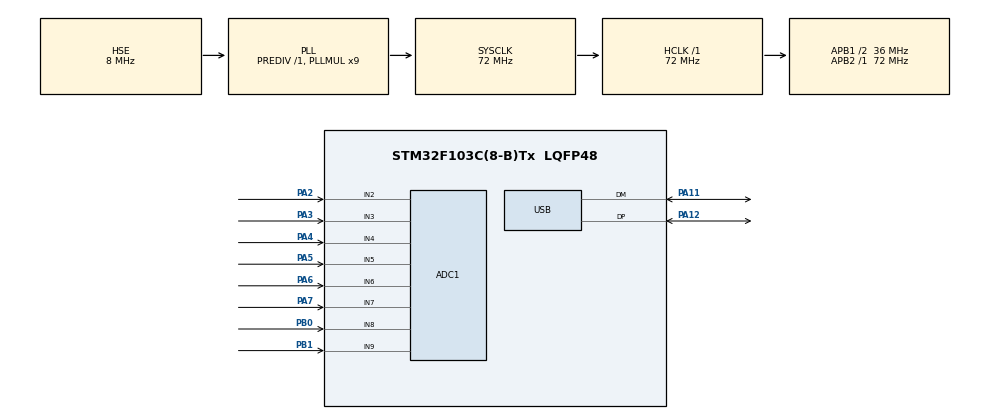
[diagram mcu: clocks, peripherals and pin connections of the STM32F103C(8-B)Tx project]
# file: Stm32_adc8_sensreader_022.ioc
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ADC1.Channel-0\#ChannelRegularConversion=ADC_CHANNEL_2
ADC1.Channel-1\#ChannelRegularConversion=ADC_CHANNEL_3
ADC1.Channel-2\#ChannelRegularConversion=ADC_CHANNEL_4
ADC1.Channel-3\#ChannelRegularConversion=ADC_CHANNEL_5
ADC1.Channel-4\#ChannelRegularConversion=ADC_CHANNEL_6
ADC1.Channel-5\#ChannelRegularConversion=ADC_CHANNEL_7
ADC1.Channel-6\#ChannelRegularConversion=ADC_CHANNEL_8
ADC1.Channel-7\#ChannelRegularConversion=ADC_CHANNEL_9
ADC1.ContinuousConvMode=ENABLE
ADC1.NbrOfConversion=8
ADC1.NbrOfConversionFlag=1
ADC1.Rank-0\#ChannelRegularConversion=1
ADC1.Rank-1\#ChannelRegularConversion=2
ADC1.Rank-2\#ChannelRegularConversion=3
ADC1.Rank-3\#ChannelRegularConversion=4
ADC1.Rank-4\#ChannelRegularConversion=5
ADC1.Rank-5\#ChannelRegularConversion=6
ADC1.Rank-6\#ChannelRegularConversion=7
ADC1.Rank-7\#ChannelRegularConversion=8
ADC1.SamplingTime-0\#ChannelRegularConversion=ADC_SAMPLETIME_55CYCLES_5
ADC1.SamplingTime-1\#ChannelRegularConversion=ADC_SAMPLETIME_55CYCLES_5
ADC1.SamplingTime-2\#ChannelRegularConversion=ADC_SAMPLETIME_55CYCLES_5
ADC1.SamplingTime-3\#ChannelRegularConversion=ADC_SAMPLETIME_55CYCLES_5
ADC1.SamplingTime-4\#ChannelRegularConversion=ADC_SAMPLETIME_55CYCLES_5
ADC1.SamplingTime-5\#ChannelRegularConversion=ADC_SAMPLETIME_55CYCLES_5
ADC1.SamplingTime-6\#ChannelRegularConversion=ADC_SAMPLETIME_55CYCLES_5
ADC1.SamplingTime-7\#ChannelRegularConversion=ADC_SAMPLETIME_55CYCLES_5
ADC1.master=1
Dma.ADC1.0.Direction=DMA_PERIPH_TO_MEMORY
Dma.ADC1.0.Instance=DMA1_Channel1
Dma.ADC1.0.MemDataAlignment=DMA_MDATAALIGN_WORD
Dma.ADC1.0.MemInc=DMA_MINC_ENABLE
Dma.ADC1.0.Mode=DMA_CIRCULAR
Dma.ADC1.0.PeriphDataAlignment=DMA_PDATAALIGN_WORD
Dma.ADC1.0.PeriphInc=DMA_PINC_DISABLE
Dma.ADC1.0.Priority=DMA_PRIORITY_LOW
Dma.Request0=ADC1
Mcu.Family=STM32F1
Mcu.Name=STM32F103C(8-B)Tx
Mcu.Package=LQFP48
NVIC.DMA1_Channel1_IRQn=true\:0\:0\:false\:false\:true\:false\:true\:true
NVIC.PriorityGroup=NVIC_PRIORITYGROUP_4
NVIC.USB_HP_CAN1_TX_IRQn=true\:0\:0\:false\:false\:true\:true\:true\:true
NVIC.USB_LP_CAN1_RX0_IRQn=true\:0\:0\:false\:false\:true\:false\:true\:true
PA11.Mode=Device
PA11.Signal=USB_DM
PA12.Mode=Device
PA12.Signal=USB_DP
PA13.Mode=Serial_Wire
PA13.Signal=SYS_JTMS-SWDIO
PA14.Mode=Serial_Wire
PA14.Signal=SYS_JTCK-SWCLK
PA2.Signal=ADCx_IN2
PA3.Signal=ADCx_IN3
PA4.Signal=ADCx_IN4
PA5.Signal=ADCx_IN5
PA6.Signal=ADCx_IN6
PA7.Signal=ADCx_IN7
PB0.Signal=ADCx_IN8
PB1.Signal=ADCx_IN9
PD0-OSC_IN.Mode=HSE-External-Oscillator
PD0-OSC_IN.Signal=RCC_OSC_IN
PD1-OSC_OUT.Mode=HSE-External-Oscillator
PD1-OSC_OUT.Signal=RCC_OSC_OUT
ProjectManager.HeapSize=0x200
ProjectManager.StackSize=0x400
ProjectManager.TargetToolchain=STM32CubeIDE
RCC.ADCPresc=RCC_ADCPCLK2_DIV6
RCC.AHBFreq_Value=72000000
RCC.APB1CLKDivider=RCC_HCLK_DIV2
RCC.APB1Freq_Value=36000000
RCC.APB1TimFreq_Value=72000000
RCC.APB2Freq_Value=72000000
RCC.APB2TimFreq_Value=72000000
RCC.HCLKFreq_Value=72000000
RCC.PLLMUL=RCC_PLL_MUL9
RCC.SYSCLKFreq_VALUE=72000000
RCC.SYSCLKSource=RCC_SYSCLKSOURCE_PLLCLK
RCC.USBFreq_Value=48000000
RCC.USBPrescaler=RCC_USBCLKSOURCE_PLL_DIV1_5
SH.ADCx_IN2.0=ADC1_IN2,IN2
SH.ADCx_IN3.0=ADC1_IN3,IN3
SH.ADCx_IN4.0=ADC1_IN4,IN4
SH.ADCx_IN5.0=ADC1_IN5,IN5
SH.ADCx_IN6.0=ADC1_IN6,IN6
SH.ADCx_IN7.0=ADC1_IN7,IN7
SH.ADCx_IN8.0=ADC1_IN8,IN8
SH.ADCx_IN9.0=ADC1_IN9,IN9
USB_DEVICE.CLASS_NAME_FS=CDC
USB_DEVICE.PRODUCT_STRING_CDC_FS=STM32 Virtual Port
USB_DEVICE.VirtualMode=Cdc
USB_DEVICE.VirtualModeFS=Cdc_FS
VP_USB_DEVICE_VS_USB_DEVICE_CDC_FS.Mode=CDC_FS
board=custom

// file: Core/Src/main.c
/* USER CODE BEGIN Header */

/**
 *STM32F103C8T6 kullanarak, 8 kanal ADC verisi okuma ve verileri USB ile bilgisayara yollama
 *Using STM32F103C8T6, reading 8 channel ADC data and sending the data to the computer via USB."
 **Mete Sepetcioglu**
  ******************************************************************************
  * @file           : main.c
  * @brief          : Main program body
  ******************************************************************************
  * @attention
  *
  * Copyright (c) 2023 STMicroelectronics.
  * All rights reserved.
  *
  * This software is licensed under terms that can be found in the LICENSE file
  * in the root directory of this software component.
  * If no LICENSE file comes with this software, it is provided AS-IS.
  *
  ******************************************************************************
  */
/* USER CODE END Header */
#include "main.h"
#include "usb_device.h"

/* USER CODE BEGIN Includes */
//#include "string.h"
#include "usbd_cdc_if.h"
#define CHANNEL_SIZE 14
/* USER CODE END Includes */

/* USER CODE BEGIN PTD */
uint32_t data[8];
uint32_t adcbuffer[8];

union
 {
   float channels[CHANNEL_SIZE];
   uint8_t bytes[CHANNEL_SIZE * 4];
 } package;

 union
 {
   unsigned long value;
   uint8_t bytes[4];
 } checkpoint;
/* USER CODE END PTD */

/* USER CODE BEGIN PD */
 void HAL_ADC_ConvCpltCallback(ADC_HandleTypeDef* hadc)
  {
  	if(hadc->Instance == ADC1)
  	{

           data[0] = adcbuffer[0];
 	   data[1] = adcbuffer[1];
           data[2] = adcbuffer[2];
 	   data[3] = adcbuffer[3];
     	   data[4] = adcbuffer[4];
 	   data[5] = adcbuffer[5];
 	   data[6] = adcbuffer[6];
 	   data[7] = adcbuffer[7];

  	}
  }
/* USER CODE END PD */

 ADC_HandleTypeDef hadc1;
DMA_HandleTypeDef hdma_adc1;

void SystemClock_Config(void);
static void MX_GPIO_Init(void);
static void MX_DMA_Init(void);
static void MX_ADC1_Init(void);

int main(void)
{

  /* MCU Configuration--------------------------------------------------------*/

  /* Reset of all peripherals, Initializes the Flash interface and the Systick. */
  HAL_Init();

  /* Configure the system clock */
  SystemClock_Config();

  /* Initialize all configured peripherals */
  MX_GPIO_Init();
  MX_DMA_Init();
  MX_ADC1_Init();
  MX_USB_DEVICE_Init();
  /* USER CODE BEGIN 2 */
  HAL_ADC_Start_DMA(&hadc1, adcbuffer, 8);

  /* USER CODE END 2 */

  /* Infinite loop */
  /* USER CODE BEGIN WHILE */
  while (1)
  {
		package.channels[0] = data[0];
		package.channels[1] = data[1];
		package.channels[2] = data[2];
		package.channels[3] = data[3];
		package.channels[4] = data[4];
		package.channels[5] = data[5];
		package.channels[6] = data[6];
		package.channels[7] = data[7];

uint8_t usb_data[] = { 0x61, CHANNEL_SIZE ,checkpoint.bytes[0], checkpoint.bytes[1], checkpoint.bytes[2], checkpoint.bytes[3]
,package.bytes[0] ,package.bytes[1] ,package.bytes[2] ,package.bytes[3] ,package.bytes[4] ,package.bytes[5]
,package.bytes[6] ,package.bytes[7] ,package.bytes[8] ,package.bytes[9] ,package.bytes[10],package.bytes[11]
,package.bytes[12],package.bytes[13],package.bytes[14],package.bytes[15],package.bytes[16],package.bytes[17]
,package.bytes[18],package.bytes[19],package.bytes[20],package.bytes[21],package.bytes[22],package.bytes[23]
,package.bytes[24],package.bytes[25],package.bytes[26],package.bytes[27],package.bytes[28],package.bytes[29]
,package.bytes[30],package.bytes[31]};

CDC_Transmit_FS(usb_data, sizeof(usb_data));
    /* USER CODE END WHILE */

  }
}

void SystemClock_Config(void)
{
  RCC_OscInitTypeDef RCC_OscInitStruct = {0};
  RCC_ClkInitTypeDef RCC_ClkInitStruct = {0};
  RCC_PeriphCLKInitTypeDef PeriphClkInit = {0};

  /** Initializes the RCC Oscillators according to the specified parameters
  * in the RCC_OscInitTypeDef structure.
  */
  RCC_OscInitStruct.OscillatorType = RCC_OSCILLATORTYPE_HSE;
  RCC_OscInitStruct.HSEState = RCC_HSE_ON;
  RCC_OscInitStruct.HSEPredivValue = RCC_HSE_PREDIV_DIV1;
  RCC_OscInitStruct.HSIState = RCC_HSI_ON;
  RCC_OscInitStruct.PLL.PLLState = RCC_PLL_ON;
  RCC_OscInitStruct.PLL.PLLSource = RCC_PLLSOURCE_HSE;
  RCC_OscInitStruct.PLL.PLLMUL = RCC_PLL_MUL9;
  if (HAL_RCC_OscConfig(&RCC_OscInitStruct) != HAL_OK)
  {
    Error_Handler();
  }

  /** Initializes the CPU, AHB and APB buses clocks
  */
  RCC_ClkInitStruct.ClockType = RCC_CLOCKTYPE_HCLK|RCC_CLOCKTYPE_SYSCLK
                              |RCC_CLOCKTYPE_PCLK1|RCC_CLOCKTYPE_PCLK2;
  RCC_ClkInitStruct.SYSCLKSource = RCC_SYSCLKSOURCE_PLLCLK;
  RCC_ClkInitStruct.AHBCLKDivider = RCC_SYSCLK_DIV1;
  RCC_ClkInitStruct.APB1CLKDivider = RCC_HCLK_DIV2;
  RCC_ClkInitStruct.APB2CLKDivider = RCC_HCLK_DIV1;

  if (HAL_RCC_ClockConfig(&RCC_ClkInitStruct, FLASH_LATENCY_2) != HAL_OK)
  {
    Error_Handler();
  }
  PeriphClkInit.PeriphClockSelection = RCC_PERIPHCLK_ADC|RCC_PERIPHCLK_USB;
  PeriphClkInit.AdcClockSelection = RCC_ADCPCLK2_DIV6;
  PeriphClkInit.UsbClockSelection = RCC_USBCLKSOURCE_PLL_DIV1_5;
  if (HAL_RCCEx_PeriphCLKConfig(&PeriphClkInit) != HAL_OK)
  {
    Error_Handler();
  }
}

static void MX_ADC1_Init(void)
{

  ADC_ChannelConfTypeDef sConfig = {0};

  /** Common config
  */
  hadc1.Instance = ADC1;
  hadc1.Init.ScanConvMode = ADC_SCAN_ENABLE;
  hadc1.Init.ContinuousConvMode = ENABLE;
  hadc1.Init.DiscontinuousConvMode = DISABLE;
  hadc1.Init.ExternalTrigConv = ADC_SOFTWARE_START;
  hadc1.Init.DataAlign = ADC_DATAALIGN_RIGHT;
  hadc1.Init.NbrOfConversion = 8;
  if (HAL_ADC_Init(&hadc1) != HAL_OK)
  {
    Error_Handler();
  }

  /** Configure Regular Channel
  */
  sConfig.Channel = ADC_CHANNEL_2;
  sConfig.Rank = ADC_REGULAR_RANK_1;
  sConfig.SamplingTime = ADC_SAMPLETIME_55CYCLES_5;
  if (HAL_ADC_ConfigChannel(&hadc1, &sConfig) != HAL_OK)
  {
    Error_Handler();
  }

  /** Configure Regular Channel
  */
  sConfig.Channel = ADC_CHANNEL_3;
  sConfig.Rank = ADC_REGULAR_RANK_2;
  if (HAL_ADC_ConfigChannel(&hadc1, &sConfig) != HAL_OK)
  {
    Error_Handler();
  }

  /** Configure Regular Channel
  */
  sConfig.Channel = ADC_CHANNEL_4;
  sConfig.Rank = ADC_REGULAR_RANK_3;
  if (HAL_ADC_ConfigChannel(&hadc1, &sConfig) != HAL_OK)
  {
    Error_Handler();
  }

  /** Configure Regular Channel
  */
  sConfig.Channel = ADC_CHANNEL_5;
  sConfig.Rank = ADC_REGULAR_RANK_4;
  if (HAL_ADC_ConfigChannel(&hadc1, &sConfig) != HAL_OK)
  {
    Error_Handler();
  }

  /** Configure Regular Channel
  */
  sConfig.Channel = ADC_CHANNEL_6;
  sConfig.Rank = ADC_REGULAR_RANK_5;
  if (HAL_ADC_ConfigChannel(&hadc1, &sConfig) != HAL_OK)
  {
    Error_Handler();
  }

  /** Configure Regular Channel
  */
  sConfig.Channel = ADC_CHANNEL_7;
  sConfig.Rank = ADC_REGULAR_RANK_6;
  if (HAL_ADC_ConfigChannel(&hadc1, &sConfig) != HAL_OK)
  {
    Error_Handler();
  }

  /** Configure Regular Channel
  */
  sConfig.Channel = ADC_CHANNEL_8;
  sConfig.Rank = ADC_REGULAR_RANK_7;
  if (HAL_ADC_ConfigChannel(&hadc1, &sConfig) != HAL_OK)
  {
    Error_Handler();
  }

  /** Configure Regular Channel
  */
  sConfig.Channel = ADC_CHANNEL_9;
  sConfig.Rank = ADC_REGULAR_RANK_8;
  if (HAL_ADC_ConfigChannel(&hadc1, &sConfig) != HAL_OK)
  {
    Error_Handler();
  }

}

static void MX_DMA_Init(void)
{

  /* DMA controller clock enable */
  __HAL_RCC_DMA1_CLK_ENABLE();

  /* DMA interrupt init */
  /* DMA1_Channel1_IRQn interrupt configuration */
  HAL_NVIC_SetPriority(DMA1_Channel1_IRQn, 0, 0);
  HAL_NVIC_EnableIRQ(DMA1_Channel1_IRQn);

}

static void MX_GPIO_Init(void)
{

  /* GPIO Ports Clock Enable */
  __HAL_RCC_GPIOD_CLK_ENABLE();
  __HAL_RCC_GPIOA_CLK_ENABLE();
  __HAL_RCC_GPIOB_CLK_ENABLE();

}

void Error_Handler(void)
{
  __disable_irq();
  while (1)
  {
  }
}
